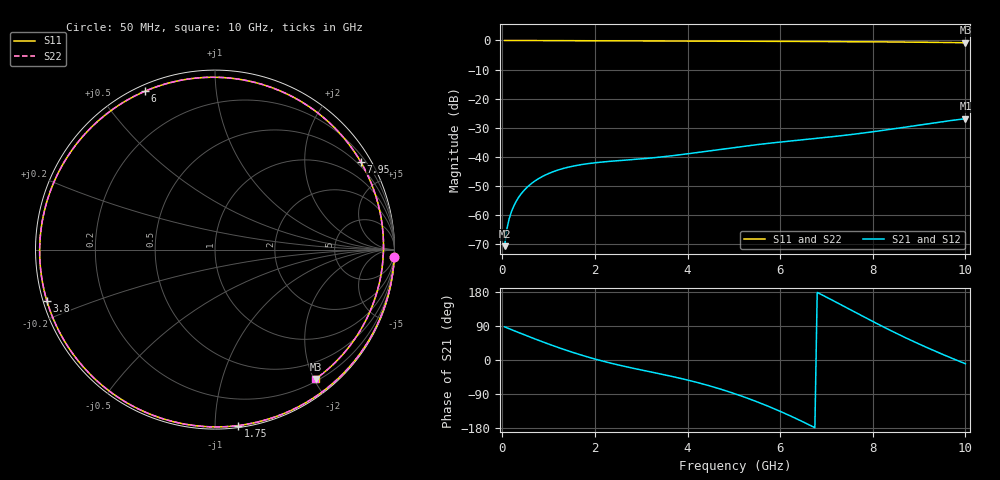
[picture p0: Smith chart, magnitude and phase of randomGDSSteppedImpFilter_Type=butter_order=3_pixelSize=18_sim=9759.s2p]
! freq	dB(S11)	phase(S11)	dB(S12)	phase(S12)
!  dB(S21)	phase(S21)	dB(S22)	phase(S22)
!S-par simulation data
#  GHz  S  DB  R 50
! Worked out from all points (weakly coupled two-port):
!   200 points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, 50 MHz to 10 GHz, reference 50 ohm
!   highest |S21| = -26.93 dB at 10 GHz (marker M1); lowest = -70.8 dB at 50 MHz (marker M2)
!   lowest |S11| = -0.8 dB at 10 GHz (marker M3), VSWR 21.95, Z = 11.7 - j101 ohm
!   |S11| at or under -10 dB: nowhere
!   |S22| runs from -0.8 to 0.0 dB; largest |S21 - S12| = 0
!   S11 on the Smith chart (normalised r, x): 50 MHz: 0, -46; 1.75 GHz: 0.01, -1.14; 3.8 GHz: 0.01, -0.15; 6 GHz: 0.03, +0.65; 7.95 GHz: 0.37, +3.56; 10 GHz: 0.23, -2.02
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0.05  -0.00 -2.5  -70.81 87.5  -70.81 87.5  -0.00 -2.5
0.1  -0.01 -5.0  -64.80 84.9  -64.80 84.9  -0.01 -5.0
0.2  -0.01 -9.9  -58.82 80.0  -58.82 80.0  -0.01 -10.0
0.35  -0.03 -17.3  -54.06 72.6  -54.06 72.6  -0.03 -17.3
0.5  -0.03 -24.7  -51.10 65.4  -51.10 65.4  -0.03 -24.7
0.8  -0.05 -39.2  -47.40 51.2  -47.40 51.2  -0.05 -39.2
1.15  -0.07 -55.6  -44.88 35.5  -44.88 35.5  -0.07 -55.7
1.75  -0.10 -82.6  -42.63 11.4  -42.63 11.4  -0.10 -82.6
2.1  -0.11 -97.4  -41.93 -0.7  -41.93 -0.7  -0.11 -97.5
2.5  -0.13 -113.8  -41.38 -12.9  -41.38 -12.9  -0.13 -113.8
3.4  -0.16 -148.4  -40.16 -36.4  -40.16 -36.4  -0.16 -148.4
3.8  -0.18 -163.2  -39.42 -47.1  -39.42 -47.1  -0.18 -163.2
4.4  -0.21 174.8  -38.15 -65.6  -38.15 -65.6  -0.21 174.8
5.05  -0.25 150.7  -36.76 -90.2  -36.76 -90.2  -0.25 150.6
5.5  -0.28 133.5  -35.87 -110.3  -35.87 -110.3  -0.28 133.5
6  -0.31 113.9  -34.98 -135.5  -34.98 -135.5  -0.31 113.8
6.7  -0.36 85.0  -33.84 -175.6  -33.84 -175.6  -0.36 84.9
7.3  -0.41 59.4  -32.82 146.7  -32.82 146.7  -0.41 59.2
7.95  -0.47 31.1  -31.54 104.9  -31.54 104.9  -0.47 31.0
8.35  -0.51 13.9  -30.65 80.0  -30.65 80.0  -0.51 13.7
9.1  -0.61 -17.4  -28.88 36.6  -28.88 36.6  -0.61 -17.6
10  -0.79 -52.1  -26.93 -9.8  -26.93 -9.8  -0.79 -52.2
